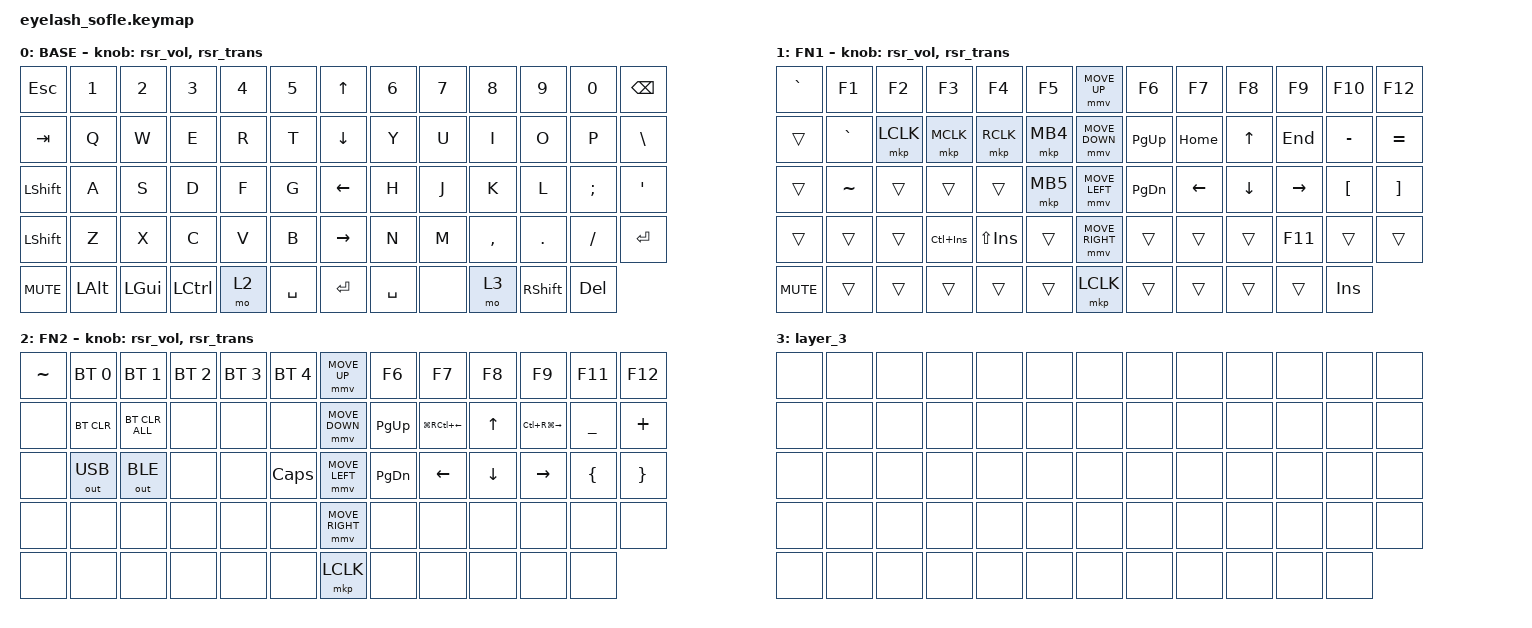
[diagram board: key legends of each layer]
#define ZMK_POINTING_DEFAULT_MOVE_VAL 1200  // 600
#define ZMK_POINTING_DEFAULT_SCRL_VAL 25   // 10

#include <input/processors.dtsi>
#include <zephyr/dt-bindings/input/input-event-codes.h>
#include <behaviors/runtime-sensor-rotate.dtsi>
#include <behaviors.dtsi>
#include <dt-bindings/zmk/bt.h>
#include <dt-bindings/zmk/keys.h>
#include <dt-bindings/zmk/outputs.h>
#include <dt-bindings/zmk/pointing.h>

&mmv_input_listener { input-processors = <&zip_xy_scaler 2 1>; };

&msc_input_listener { input-processors = <&zip_scroll_scaler 2 1>; };

&msc {
    acceleration-exponent = <1>;      // 0
    time-to-max-speed-ms = <100>;       // 300
    delay-ms = <0>;                   // 0
};

&mmv {
    time-to-max-speed-ms = <500>;
    acceleration-exponent = <1>;
    trigger-period-ms = <16>;
};

&soft_off { hold-time-ms = <2000>; };

/ {
    scroll_encoder: scroll_encoder {
        compatible = "zmk,behavior-sensor-rotate";
        #sensor-binding-cells = <0>;
        bindings = <&msc SCRL_DOWN>, <&msc SCRL_UP>;

        tap-ms = <100>;
    };

    behaviors {
        rsr_vol: rsr_vol {
            compatible = "zmk,behavior-runtime-sensor-rotate";
            #sensor-binding-cells = <0>;
            tap-ms = <5>;
            cw-binding = <&kp C_VOL_UP>;
            ccw-binding = <&kp C_VOL_DN>;
        };

        rsr_trans: rsr_trans {
            compatible = "zmk,behavior-runtime-sensor-rotate";
            #sensor-binding-cells = <0>;
            tap-ms = <0>;
        };
    };

    combos { compatible = "zmk,combos"; };

    macros {
        SHIFT_MCLK: SHIFT_MCLK {
            compatible = "zmk,behavior-macro";
            #binding-cells = <0>;
            bindings =
                <&macro_press>,
                <&kp LEFT_SHIFT>,
                <&macro_press>,
                <&mkp MB3>,
                <&macro_pause_for_release>,
                <&macro_release>,
                <&kp LEFT_SHIFT &mkp MB3>;

            label = "SHIFT_MCLK";
        };
    };

    keymap {
        compatible = "zmk,keymap";

        BASE {
            bindings = <
&kp ESC         &kp N1        &kp N2        &kp N3     &kp N4  &kp N5       &kp UP_ARROW     &kp N6     &kp N7  &kp N8     &kp N9           &kp N0      &kp BACKSPACE
&kp TAB         &kp Q         &kp W         &kp E      &kp R   &kp T        &kp DOWN_ARROW   &kp Y      &kp U   &kp I      &kp O            &kp P       &kp BSLH
&kp LEFT_SHIFT  &kp A         &kp S         &kp D      &kp F   &kp G        &kp LEFT_ARROW   &kp H      &kp J   &kp K      &kp L            &kp SEMI    &kp APOS
&kp LSHFT       &kp Z         &kp X         &kp C      &kp V   &kp B        &kp RIGHT_ARROW  &kp N      &kp M   &kp COMMA  &kp DOT          &kp FSLH    &kp ENTER
&kp C_MUTE      &kp LEFT_ALT  &kp LEFT_GUI  &kp LCTRL  &mo 2   &kp SPACE    &kp ENTER        &kp SPACE  &none   &mo 3      &kp RIGHT_SHIFT  &kp DELETE
            >;

            sensor-bindings = <&rsr_vol &rsr_trans>;
            display-name = "BASE";
        };

        FN1 {
            bindings = <
&kp GRAVE   &kp F1     &kp F2     &kp F3          &kp F4       &kp F5      &mmv MOVE_UP     &kp F6     &kp F7    &kp F8    &kp F9     &kp F10           &kp F12
&trans      &kp GRAVE  &mkp LCLK  &mkp MCLK       &mkp RCLK    &mkp MB4    &mmv MOVE_DOWN   &kp PG_UP  &kp HOME  &kp UP    &kp END    &kp MINUS         &kp EQUAL
&trans      &kp TILDE  &trans     &trans          &trans       &mkp MB5    &mmv MOVE_LEFT   &kp PG_DN  &kp LEFT  &kp DOWN  &kp RIGHT  &kp LEFT_BRACKET  &kp RIGHT_BRACKET
&trans      &trans     &trans     &kp LC(INSERT)  &kp LS(INS)  &trans      &mmv MOVE_RIGHT  &trans     &trans    &trans    &kp F11    &trans            &trans
&kp C_MUTE  &trans     &trans     &trans          &trans       &trans      &mkp LCLK        &trans     &trans    &trans    &trans     &kp INSERT
            >;

            sensor-bindings = <&rsr_vol &rsr_trans>;
            display-name = "FN1";
        };

        FN2 {
            bindings = <
&kp TILDE  &bt BT_SEL 0  &bt BT_SEL 1    &bt BT_SEL 2  &bt BT_SEL 3  &bt BT_SEL 4    &mmv MOVE_UP     &kp F6         &kp F7                  &kp F8    &kp F9             &kp F11    &kp F12
&none      &bt BT_CLR    &bt BT_CLR_ALL  &none         &none         &none           &mmv MOVE_DOWN   &kp PG_UP      &kp LG(RC(LEFT_ARROW))  &kp UP    &kp LC(RG(RIGHT))  &kp UNDER  &kp PLUS
&none      &out OUT_USB  &out OUT_BLE    &none         &none         &kp CAPS        &mmv MOVE_LEFT   &kp PAGE_DOWN  &kp LEFT                &kp DOWN  &kp RIGHT          &kp LBRC   &kp RBRC
&none      &none         &none           &none         &none         &none           &mmv MOVE_RIGHT  &none          &none                   &none     &none              &none      &none
&none      &none         &none           &none         &none         &none           &mkp LCLK        &none          &none                   &none     &none              &none
            >;

            display-name = "FN2";
            sensor-bindings = <&rsr_vol &rsr_trans>;
        };

        layer_3 {
            bindings = <
&none  &none  &none  &none  &none  &none    &none  &none  &none  &none  &none  &none  &none
&none  &none  &none  &none  &none  &none    &none  &none  &none  &none  &none  &none  &none
&none  &none  &none  &none  &none  &none    &none  &none  &none  &none  &none  &none  &none
&none  &none  &none  &none  &none  &none    &none  &none  &none  &none  &none  &none  &none
&none  &none  &none  &none  &none  &none    &none  &none  &none  &none  &none  &none
            >;
        };
    };
};
